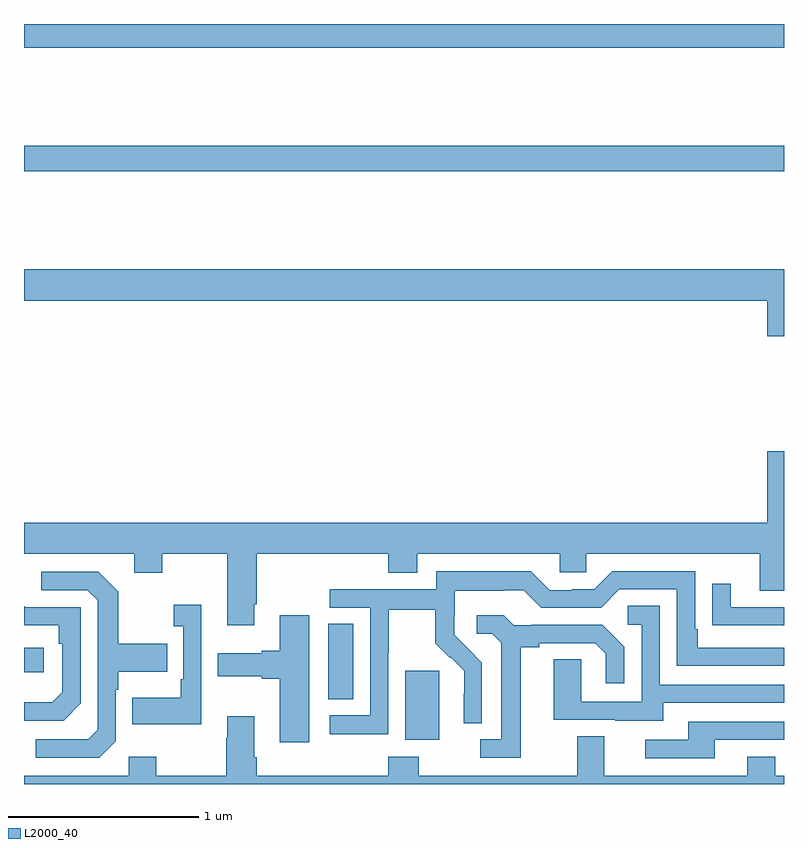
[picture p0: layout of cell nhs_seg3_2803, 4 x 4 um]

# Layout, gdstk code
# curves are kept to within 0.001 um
import gdstk
lib = gdstk.Library(unit=1e-6, precision=1e-09)
def R(c, l, rs):  # rectangles x0, y0, x1, y1
    for r in rs: c.add(gdstk.rectangle(r[:2], r[2:], *l))
def P(c, l, *ps):  # polygons
    for p in ps: c.add(gdstk.Polygon(p, *l))
L2000_40 = (2000, 40)

nhs_seg3_2803 = lib.new_cell('nhs_seg3_2803')
R(nhs_seg3_2803, L2000_40, [(259.007,670.634,259.186,670.995), (258.602,670.846,258.733,671.243), (257,670.988,257.104,671.118), (257,673.624,261,673.76), (257,674.276,261,674.4)])
P(nhs_seg3_2803, L2000_40, [(261,673.108),(257,673.108),(257,672.944),(260.912,672.944),(260.912,672.756),(261,672.756)],
  [(258.211,671.347),(258.224,671.347),(258.224,671.612),(258.916,671.612),(258.916,671.513),(259.069,671.513),(259.069,671.612),(259.821,671.612),(259.821,671.514),(259.959,671.514),(259.959,671.612),(260.873,671.612),(260.873,671.418),(261,671.418),(261,672.151),(260.912,672.151),(260.912,671.776),(257,671.776),(257,671.612),(257.579,671.612),(257.579,671.513),(257.727,671.513),(257.727,671.612),(258.071,671.612),(258.071,671.235),(258.211,671.235)],
  [(258.918,671.092),(258.921,671.092),(258.921,671.316),(259.165,671.316),(259.165,671.141),(259.242,671.064),(259.245,671.067),(259.316,670.997),(259.316,670.874),(259.314,670.874),(259.314,670.72),(259.41,670.72),(259.41,671.038),(259.264,671.186),(259.264,671.283),(259.266,671.283),(259.266,671.417),(259.529,671.417),(259.529,671.421),(259.629,671.421),(259.722,671.328),(260.037,671.328),(260.133,671.424),(260.436,671.424),(260.436,671.022),(261,671.022),(261,671.118),(260.545,671.118),(260.545,671.215),(260.532,671.215),(260.532,671.52),(260.097,671.52),(260.001,671.424),(259.883,671.424),(259.883,671.421),(259.767,671.421),(259.667,671.521),(259.17,671.521),(259.17,671.424),(258.609,671.424),(258.609,671.328),(258.822,671.328),(258.822,670.761),(258.609,670.761),(258.609,670.663),(258.918,670.663)],
  [(257.484,670.626),(257.484,670.895),(257.497,670.895),(257.497,670.991),(257.753,670.991),(257.753,671.139),(257.497,671.139),(257.497,671.411),(257.391,671.517),(257.091,671.517),(257.091,671.421),(257.334,671.421),(257.388,671.367),(257.388,670.686),(257.337,670.635),(257.061,670.635),(257.061,670.539),(257.397,670.539)],
  [(261,671.331),(260.719,671.331),(260.719,671.455),(260.623,671.455),(260.623,671.236),(260.725,671.236),(260.725,671.235),(261,671.235)],
  [(257.934,671.344),(257.787,671.344),(257.787,671.231),(257.838,671.231),(257.838,670.951),(257.826,670.951),(257.826,670.855),(257.569,670.855),(257.569,670.715),(257.934,670.715)],
  [(260.365,670.827),(261,670.827),(261,670.923),(260.346,670.923),(260.346,671.339),(260.178,671.339),(260.178,671.238),(260.25,671.238),(260.25,670.833),(259.932,670.833),(259.932,671.057),(259.787,671.057),(259.787,670.737),(260.111,670.737),(260.111,670.733),(260.365,670.733)],
  [(257.298,670.824),(257.298,671.331),(257.003,671.331),(257.003,671.336),(257,671.336),(257,671.235),(257.182,671.235),(257.182,671.138),(257.202,671.138),(257.202,670.884),(257.149,670.831),(257,670.831),(257,670.734),(257.208,670.734)],
  [(258.502,671.287),(258.347,671.287),(258.347,671.102),(258.251,671.102),(258.251,671.089),(258.021,671.089),(258.021,670.967),(258.251,670.967),(258.251,670.955),(258.347,670.955),(258.347,670.62),(258.502,670.62)],
  [(259.615,671.12),(259.711,671.12),(259.711,671.142),(260.006,671.142),(260.063,671.085),(260.063,670.929),(260.16,670.929),(260.16,671.122),(260.044,671.238),(259.672,671.238),(259.672,671.235),(259.578,671.235),(259.526,671.287),(259.383,671.287),(259.383,671.19),(259.464,671.19),(259.511,671.143),(259.511,670.635),(259.401,670.635),(259.401,670.539),(259.615,670.539)],
  [(261,670.444),(260.955,670.444),(260.955,670.543),(260.807,670.543),(260.807,670.444),(260.053,670.444),(260.053,670.652),(259.913,670.652),(259.913,670.444),(259.077,670.444),(259.077,670.543),(258.916,670.543),(258.916,670.444),(258.224,670.444),(258.224,670.54),(258.211,670.54),(258.211,670.756),(258.071,670.756),(258.071,670.643),(258.064,670.643),(258.064,670.444),(257.697,670.444),(257.697,670.543),(257.55,670.543),(257.55,670.444),(257,670.444),(257,670.4),(261,670.4)],
  [(260.635,670.632),(261,670.632),(261,670.728),(260.495,670.728),(260.495,670.632),(260.271,670.632),(260.271,670.536),(260.635,670.536)])

lib.write_gds('nhs_seg3_2803.gds')
